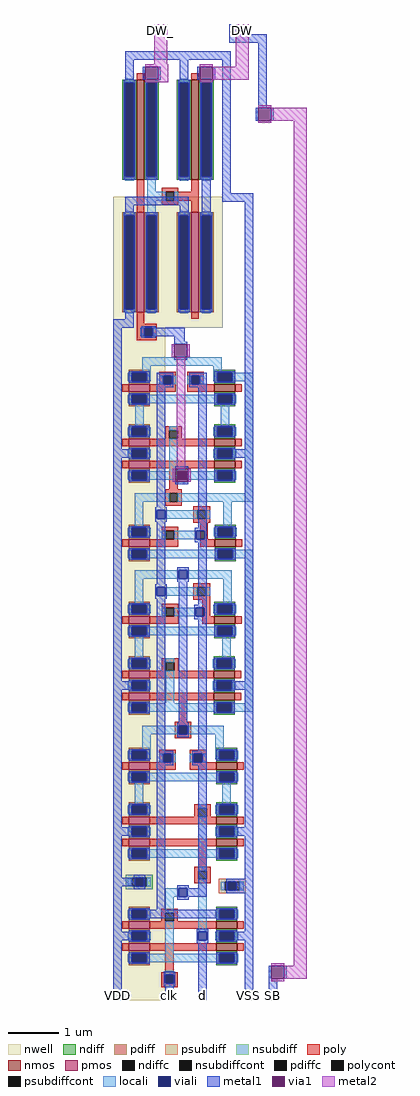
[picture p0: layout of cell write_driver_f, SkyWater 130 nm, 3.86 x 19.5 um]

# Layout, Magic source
magic
tech sky130A
magscale 1 2
<< nwell >>
rect 0 2686 436 3210
rect 0 0 208 2686
<< nmos >>
rect 94 3278 124 3678
rect 312 3278 342 3678
rect 402 2432 486 2462
rect 402 2214 486 2244
rect 402 2126 486 2156
rect 404 1812 488 1842
rect 402 1504 486 1534
rect 401 1286 485 1316
rect 401 1198 485 1228
rect 411 920 495 950
rect 411 702 495 732
rect 411 614 495 644
rect 411 285 495 315
rect 411 197 495 227
<< pmos >>
rect 94 2748 124 3148
rect 312 2748 342 3148
rect 62 2432 146 2462
rect 62 2214 146 2244
rect 62 2126 146 2156
rect 62 1812 146 1842
rect 62 1504 146 1534
rect 62 1286 146 1316
rect 62 1198 146 1228
rect 62 920 146 950
rect 62 702 146 732
rect 62 614 146 644
rect 62 285 146 315
rect 62 197 146 227
<< ndiff >>
rect 36 3666 94 3678
rect 36 3290 48 3666
rect 82 3290 94 3666
rect 36 3278 94 3290
rect 124 3666 182 3678
rect 124 3290 136 3666
rect 170 3290 182 3666
rect 124 3278 182 3290
rect 254 3666 312 3678
rect 254 3290 266 3666
rect 300 3290 312 3666
rect 254 3278 312 3290
rect 342 3666 400 3678
rect 342 3290 354 3666
rect 388 3290 400 3666
rect 342 3278 400 3290
rect 402 2508 486 2520
rect 402 2474 414 2508
rect 474 2474 486 2508
rect 402 2462 486 2474
rect 402 2420 486 2432
rect 402 2386 414 2420
rect 474 2386 486 2420
rect 402 2374 486 2386
rect 402 2290 486 2302
rect 402 2256 414 2290
rect 474 2256 486 2290
rect 402 2244 486 2256
rect 402 2202 486 2214
rect 402 2168 414 2202
rect 474 2168 486 2202
rect 402 2156 486 2168
rect 402 2114 486 2126
rect 402 2080 414 2114
rect 474 2080 486 2114
rect 402 2068 486 2080
rect 404 1888 488 1900
rect 404 1854 416 1888
rect 476 1854 488 1888
rect 404 1842 488 1854
rect 404 1800 488 1812
rect 404 1766 416 1800
rect 476 1766 488 1800
rect 404 1754 488 1766
rect 402 1580 486 1592
rect 402 1546 414 1580
rect 474 1546 486 1580
rect 402 1534 486 1546
rect 402 1492 486 1504
rect 402 1458 414 1492
rect 474 1458 486 1492
rect 402 1446 486 1458
rect 401 1362 485 1374
rect 401 1328 413 1362
rect 473 1328 485 1362
rect 401 1316 485 1328
rect 401 1274 485 1286
rect 401 1240 413 1274
rect 473 1240 485 1274
rect 401 1228 485 1240
rect 401 1186 485 1198
rect 401 1152 413 1186
rect 473 1152 485 1186
rect 401 1140 485 1152
rect 411 996 495 1008
rect 411 962 423 996
rect 483 962 495 996
rect 411 950 495 962
rect 411 908 495 920
rect 411 874 423 908
rect 483 874 495 908
rect 411 862 495 874
rect 411 778 495 790
rect 411 744 423 778
rect 483 744 495 778
rect 411 732 495 744
rect 411 690 495 702
rect 411 656 423 690
rect 483 656 495 690
rect 411 644 495 656
rect 411 602 495 614
rect 411 568 423 602
rect 483 568 495 602
rect 411 556 495 568
rect 411 361 495 373
rect 411 327 423 361
rect 483 327 495 361
rect 411 315 495 327
rect 411 273 495 285
rect 411 239 423 273
rect 483 239 495 273
rect 411 227 495 239
rect 411 185 495 197
rect 411 151 423 185
rect 483 151 495 185
rect 411 139 495 151
<< pdiff >>
rect 36 3136 94 3148
rect 36 2760 48 3136
rect 82 2760 94 3136
rect 36 2748 94 2760
rect 124 3136 182 3148
rect 124 2760 136 3136
rect 170 2760 182 3136
rect 124 2748 182 2760
rect 254 3136 312 3148
rect 254 2760 266 3136
rect 300 2760 312 3136
rect 254 2748 312 2760
rect 342 3136 400 3148
rect 342 2760 354 3136
rect 388 2760 400 3136
rect 342 2748 400 2760
rect 62 2508 146 2520
rect 62 2474 74 2508
rect 134 2474 146 2508
rect 62 2462 146 2474
rect 62 2420 146 2432
rect 62 2386 74 2420
rect 134 2386 146 2420
rect 62 2374 146 2386
rect 62 2290 146 2302
rect 62 2256 74 2290
rect 134 2256 146 2290
rect 62 2244 146 2256
rect 62 2202 146 2214
rect 62 2168 74 2202
rect 134 2168 146 2202
rect 62 2156 146 2168
rect 62 2114 146 2126
rect 62 2080 74 2114
rect 134 2080 146 2114
rect 62 2068 146 2080
rect 62 1888 146 1900
rect 62 1854 74 1888
rect 134 1854 146 1888
rect 62 1842 146 1854
rect 62 1800 146 1812
rect 62 1766 74 1800
rect 134 1766 146 1800
rect 62 1754 146 1766
rect 62 1580 146 1592
rect 62 1546 74 1580
rect 134 1546 146 1580
rect 62 1534 146 1546
rect 62 1492 146 1504
rect 62 1458 74 1492
rect 134 1458 146 1492
rect 62 1446 146 1458
rect 62 1362 146 1374
rect 62 1328 74 1362
rect 134 1328 146 1362
rect 62 1316 146 1328
rect 62 1274 146 1286
rect 62 1240 74 1274
rect 134 1240 146 1274
rect 62 1228 146 1240
rect 62 1186 146 1198
rect 62 1152 74 1186
rect 134 1152 146 1186
rect 62 1140 146 1152
rect 62 996 146 1008
rect 62 962 74 996
rect 134 962 146 996
rect 62 950 146 962
rect 62 908 146 920
rect 62 874 74 908
rect 134 874 146 908
rect 62 862 146 874
rect 62 778 146 790
rect 62 744 74 778
rect 134 744 146 778
rect 62 732 146 744
rect 62 690 146 702
rect 62 656 74 690
rect 134 656 146 690
rect 62 644 146 656
rect 62 602 146 614
rect 62 568 74 602
rect 134 568 146 602
rect 62 556 146 568
rect 62 361 146 373
rect 62 327 74 361
rect 134 327 146 361
rect 62 315 146 327
rect 62 273 146 285
rect 62 239 74 273
rect 134 239 146 273
rect 62 227 146 239
rect 62 185 146 197
rect 62 151 74 185
rect 134 151 146 185
rect 62 139 146 151
<< ndiffc >>
rect 48 3290 82 3666
rect 136 3290 170 3666
rect 266 3290 300 3666
rect 354 3290 388 3666
rect 414 2474 474 2508
rect 414 2386 474 2420
rect 414 2256 474 2290
rect 414 2168 474 2202
rect 414 2080 474 2114
rect 416 1854 476 1888
rect 416 1766 476 1800
rect 414 1546 474 1580
rect 414 1458 474 1492
rect 413 1328 473 1362
rect 413 1240 473 1274
rect 413 1152 473 1186
rect 423 962 483 996
rect 423 874 483 908
rect 423 744 483 778
rect 423 656 483 690
rect 423 568 483 602
rect 423 327 483 361
rect 423 239 483 273
rect 423 151 483 185
<< pdiffc >>
rect 48 2760 82 3136
rect 136 2760 170 3136
rect 266 2760 300 3136
rect 354 2760 388 3136
rect 74 2474 134 2508
rect 74 2386 134 2420
rect 74 2256 134 2290
rect 74 2168 134 2202
rect 74 2080 134 2114
rect 74 1854 134 1888
rect 74 1766 134 1800
rect 74 1546 134 1580
rect 74 1458 134 1492
rect 74 1328 134 1362
rect 74 1240 134 1274
rect 74 1152 134 1186
rect 74 962 134 996
rect 74 874 134 908
rect 74 744 134 778
rect 74 656 134 690
rect 74 568 134 602
rect 74 327 134 361
rect 74 239 134 273
rect 74 151 134 185
<< psubdiff >>
rect 420 473 528 485
rect 420 439 444 473
rect 504 439 528 473
rect 420 427 528 439
<< nsubdiff >>
rect 50 488 158 500
rect 50 454 74 488
rect 134 454 158 488
rect 50 442 158 454
<< psubdiffcont >>
rect 444 439 504 473
<< nsubdiffcont >>
rect 74 454 134 488
<< poly >>
rect 94 3678 124 3704
rect 312 3678 342 3704
rect 94 3148 124 3278
rect 193 3230 260 3247
rect 312 3230 342 3278
rect 193 3195 209 3230
rect 243 3195 342 3230
rect 193 3179 260 3195
rect 312 3148 342 3195
rect 94 2702 124 2748
rect 312 2722 342 2748
rect 94 2686 174 2702
rect 94 2652 124 2686
rect 158 2652 174 2686
rect 94 2636 174 2652
rect 184 2496 250 2512
rect 184 2462 200 2496
rect 234 2462 250 2496
rect 36 2432 62 2462
rect 146 2432 250 2462
rect 296 2496 362 2512
rect 296 2462 312 2496
rect 346 2462 362 2496
rect 296 2432 402 2462
rect 486 2432 512 2462
rect 207 2278 274 2294
rect 207 2244 223 2278
rect 258 2244 274 2278
rect 36 2214 62 2244
rect 146 2214 402 2244
rect 486 2214 512 2244
rect 36 2126 62 2156
rect 146 2126 402 2156
rect 486 2126 512 2156
rect 223 2042 258 2126
rect 207 2026 274 2042
rect 207 1992 223 2026
rect 258 1992 274 2026
rect 207 1976 274 1992
rect 320 1958 386 1974
rect 320 1924 336 1958
rect 370 1924 386 1958
rect 320 1908 386 1924
rect 194 1876 260 1892
rect 194 1842 210 1876
rect 244 1842 260 1876
rect 36 1812 62 1842
rect 146 1812 260 1842
rect 348 1842 378 1908
rect 348 1812 404 1842
rect 488 1812 514 1842
rect 320 1650 386 1666
rect 320 1616 336 1650
rect 370 1616 386 1650
rect 320 1600 386 1616
rect 194 1568 260 1584
rect 194 1534 210 1568
rect 244 1534 260 1568
rect 36 1504 62 1534
rect 146 1504 260 1534
rect 356 1534 386 1600
rect 356 1504 402 1534
rect 486 1504 512 1534
rect 194 1350 260 1366
rect 194 1316 210 1350
rect 244 1316 260 1350
rect 36 1286 62 1316
rect 146 1286 401 1316
rect 485 1286 511 1316
rect 36 1198 62 1228
rect 146 1198 401 1228
rect 485 1198 511 1228
rect 261 1112 295 1198
rect 245 1096 311 1112
rect 245 1062 261 1096
rect 295 1062 311 1096
rect 245 1046 311 1062
rect 184 984 250 1000
rect 184 950 200 984
rect 234 950 250 984
rect 36 920 62 950
rect 146 920 250 950
rect 306 984 373 1001
rect 306 950 322 984
rect 356 950 373 984
rect 306 920 411 950
rect 495 920 521 950
rect 323 766 389 782
rect 323 732 339 766
rect 373 732 389 766
rect 36 702 62 732
rect 146 702 411 732
rect 495 702 521 732
rect 36 614 62 644
rect 146 614 411 644
rect 495 614 521 644
rect 339 533 373 614
rect 323 517 389 533
rect 323 483 339 517
rect 373 483 389 517
rect 323 467 389 483
rect 192 349 258 365
rect 192 315 208 349
rect 242 315 258 349
rect 36 285 62 315
rect 146 285 411 315
rect 495 285 521 315
rect 36 197 62 227
rect 146 197 411 227
rect 495 197 521 227
rect 208 111 242 197
rect 192 101 258 111
rect 192 67 208 101
rect 242 67 258 101
rect 192 51 258 67
<< polycont >>
rect 209 3195 243 3230
rect 124 2652 158 2686
rect 200 2462 234 2496
rect 312 2462 346 2496
rect 223 2244 258 2278
rect 223 1992 258 2026
rect 336 1924 370 1958
rect 210 1842 244 1876
rect 336 1616 370 1650
rect 210 1534 244 1568
rect 210 1316 244 1350
rect 261 1062 295 1096
rect 200 950 234 984
rect 322 950 356 984
rect 339 732 373 766
rect 339 483 373 517
rect 208 315 242 349
rect 208 67 242 101
<< locali >>
rect 48 3666 82 3682
rect 48 3274 82 3290
rect 136 3666 170 3682
rect 136 3230 170 3290
rect 266 3666 300 3682
rect 266 3274 300 3290
rect 354 3666 388 3682
rect 354 3274 388 3290
rect 136 3195 209 3230
rect 243 3195 260 3230
rect 48 3136 82 3152
rect 48 2744 82 2760
rect 136 3136 170 3195
rect 136 2744 170 2760
rect 266 3136 300 3152
rect 266 2744 300 2760
rect 354 3136 388 3152
rect 354 2744 388 2760
rect 108 2652 124 2686
rect 158 2652 174 2686
rect 116 2535 433 2569
rect 116 2508 150 2535
rect 58 2474 74 2508
rect 134 2474 150 2508
rect 398 2508 433 2535
rect 184 2462 200 2496
rect 234 2462 250 2496
rect 296 2462 312 2496
rect 346 2462 362 2496
rect 398 2474 414 2508
rect 474 2474 558 2508
rect 58 2386 74 2420
rect 134 2386 414 2420
rect 474 2386 490 2420
rect 87 2290 121 2386
rect 58 2256 74 2290
rect 134 2256 150 2290
rect 223 2278 258 2294
rect 428 2290 462 2386
rect 398 2256 414 2290
rect 474 2256 490 2290
rect 58 2168 74 2202
rect 134 2168 150 2202
rect 223 2114 258 2244
rect 398 2168 414 2202
rect 474 2168 490 2202
rect 58 2080 74 2114
rect 134 2080 257 2114
rect 291 2080 414 2114
rect 474 2080 490 2114
rect 524 2026 558 2474
rect 86 1992 223 2026
rect 258 1992 558 2026
rect 86 1888 120 1992
rect 208 1924 336 1958
rect 370 1924 386 1958
rect 438 1888 472 1992
rect 58 1854 74 1888
rect 134 1854 150 1888
rect 194 1842 210 1876
rect 244 1842 331 1876
rect 400 1854 416 1888
rect 476 1854 492 1888
rect 58 1766 74 1800
rect 134 1766 416 1800
rect 476 1766 558 1800
rect 86 1684 261 1718
rect 295 1684 472 1718
rect 86 1580 120 1684
rect 208 1616 336 1650
rect 370 1616 386 1650
rect 438 1580 472 1684
rect 58 1546 74 1580
rect 134 1546 150 1580
rect 194 1534 210 1568
rect 244 1534 330 1568
rect 398 1546 414 1580
rect 474 1546 490 1580
rect 58 1458 74 1492
rect 134 1458 414 1492
rect 474 1458 490 1492
rect 86 1362 120 1458
rect 58 1328 74 1362
rect 134 1328 150 1362
rect 210 1350 244 1366
rect 435 1362 469 1458
rect 397 1328 413 1362
rect 473 1328 489 1362
rect 58 1240 74 1274
rect 134 1240 150 1274
rect 210 1186 244 1316
rect 397 1240 413 1274
rect 473 1240 489 1274
rect 524 1186 558 1766
rect 58 1152 74 1186
rect 134 1152 413 1186
rect 473 1152 558 1186
rect 116 1062 261 1096
rect 295 1062 441 1096
rect 116 996 150 1062
rect 58 962 74 996
rect 134 962 150 996
rect 407 996 441 1062
rect 184 950 200 984
rect 234 950 250 984
rect 306 950 322 984
rect 356 950 373 984
rect 407 962 423 996
rect 483 962 499 996
rect 58 874 74 908
rect 134 874 423 908
rect 483 874 499 908
rect 86 778 120 874
rect 58 744 74 778
rect 134 744 150 778
rect 339 766 373 782
rect 435 778 469 874
rect 407 744 423 778
rect 483 744 499 778
rect 58 656 74 690
rect 134 656 150 690
rect 339 602 373 732
rect 407 656 423 690
rect 483 656 499 690
rect 58 568 74 602
rect 134 568 423 602
rect 483 568 499 602
rect 339 517 373 533
rect 58 454 74 488
rect 134 454 150 488
rect 208 413 261 447
rect 58 327 74 361
rect 134 327 150 361
rect 208 349 242 413
rect 58 239 74 273
rect 134 239 150 273
rect 208 185 242 315
rect 339 273 373 483
rect 428 439 444 473
rect 504 439 520 473
rect 407 327 423 361
rect 483 327 499 361
rect 407 239 423 273
rect 483 239 499 273
rect 58 151 74 185
rect 134 151 423 185
rect 483 151 499 185
rect 208 101 242 117
rect 208 51 242 67
<< viali >>
rect 48 3290 82 3666
rect 136 3290 170 3666
rect 266 3290 300 3666
rect 354 3290 388 3666
rect 48 2760 82 3136
rect 136 2760 170 3136
rect 266 2760 300 3136
rect 354 2760 388 3136
rect 124 2652 158 2686
rect 74 2474 134 2508
rect 200 2462 234 2496
rect 312 2462 346 2496
rect 414 2474 474 2508
rect 74 2386 134 2420
rect 414 2386 474 2420
rect 74 2256 134 2290
rect 414 2256 474 2290
rect 74 2168 134 2202
rect 414 2168 474 2202
rect 74 2080 134 2114
rect 257 2080 291 2114
rect 414 2080 474 2114
rect 174 1924 208 1958
rect 74 1854 134 1888
rect 331 1842 365 1876
rect 416 1854 476 1888
rect 74 1766 134 1800
rect 416 1766 476 1800
rect 261 1684 295 1718
rect 174 1616 208 1650
rect 74 1546 134 1580
rect 330 1534 364 1568
rect 414 1546 474 1580
rect 74 1458 134 1492
rect 414 1458 474 1492
rect 74 1328 134 1362
rect 413 1328 473 1362
rect 74 1240 134 1274
rect 413 1240 473 1274
rect 74 1152 134 1186
rect 413 1152 473 1186
rect 261 1062 295 1096
rect 74 962 134 996
rect 200 950 234 984
rect 322 950 356 984
rect 423 962 483 996
rect 74 874 134 908
rect 423 874 483 908
rect 74 744 134 778
rect 423 744 483 778
rect 74 656 134 690
rect 423 656 483 690
rect 74 568 134 602
rect 423 568 483 602
rect 87 454 121 488
rect 261 413 295 447
rect 74 327 134 361
rect 74 239 134 273
rect 457 439 491 473
rect 423 327 483 361
rect 339 239 373 273
rect 423 239 483 273
rect 74 151 134 185
rect 423 151 483 185
rect 208 67 242 101
<< metal1 >>
rect 463 3861 497 3901
rect 463 3827 612 3861
rect 48 3758 469 3792
rect 48 3678 82 3758
rect 117 3678 127 3730
rect 179 3678 189 3730
rect 266 3678 300 3758
rect 335 3678 345 3730
rect 397 3678 407 3730
rect 42 3666 88 3678
rect 42 3290 48 3666
rect 82 3290 88 3666
rect 42 3278 88 3290
rect 130 3666 176 3678
rect 130 3290 136 3666
rect 170 3290 176 3666
rect 130 3278 176 3290
rect 260 3666 306 3678
rect 260 3290 266 3666
rect 300 3290 306 3666
rect 260 3278 306 3290
rect 348 3666 394 3678
rect 348 3290 354 3666
rect 388 3290 394 3666
rect 348 3278 394 3290
rect 47 3176 301 3210
rect 47 3148 82 3176
rect 266 3148 301 3176
rect 354 3148 388 3278
rect 435 3225 469 3758
rect 578 3566 612 3827
rect 568 3514 578 3566
rect 630 3514 640 3566
rect 435 3191 559 3225
rect 42 3136 88 3148
rect 42 2760 48 3136
rect 82 2760 88 3136
rect 42 2748 88 2760
rect 130 3136 176 3148
rect 130 2760 136 3136
rect 170 2760 176 3136
rect 130 2748 176 2760
rect 260 3136 306 3148
rect 260 2760 266 3136
rect 300 2760 306 3136
rect 260 2748 306 2760
rect 348 3136 394 3148
rect 348 2760 354 3136
rect 388 2760 394 3136
rect 348 2748 394 2760
rect 47 2720 82 2748
rect 0 2686 82 2720
rect 112 2686 170 2692
rect 525 2686 559 3191
rect 0 2202 34 2686
rect 112 2652 124 2686
rect 158 2652 286 2686
rect 112 2646 170 2652
rect 244 2631 286 2652
rect 244 2621 296 2631
rect 244 2559 296 2569
rect 62 2508 146 2514
rect 402 2508 486 2514
rect 62 2474 74 2508
rect 134 2474 146 2508
rect 62 2468 146 2474
rect 174 2496 240 2508
rect 174 2462 200 2496
rect 234 2462 240 2496
rect 174 2450 240 2462
rect 304 2496 373 2508
rect 304 2462 312 2496
rect 346 2462 373 2496
rect 402 2474 414 2508
rect 474 2474 486 2508
rect 402 2468 486 2474
rect 62 2420 146 2426
rect 62 2386 74 2420
rect 134 2386 146 2420
rect 62 2380 146 2386
rect 62 2290 146 2296
rect 62 2256 74 2290
rect 134 2256 146 2290
rect 62 2250 146 2256
rect 62 2202 146 2208
rect 0 2168 74 2202
rect 134 2168 146 2202
rect 0 1274 34 2168
rect 62 2162 146 2168
rect 62 2114 146 2120
rect 62 2080 74 2114
rect 134 2080 146 2114
rect 62 2074 146 2080
rect 174 1970 208 2450
rect 304 2449 373 2462
rect 248 2123 300 2133
rect 248 2061 300 2071
rect 168 1958 214 1970
rect 168 1924 174 1958
rect 208 1924 214 1958
rect 168 1912 214 1924
rect 62 1888 146 1894
rect 62 1854 74 1888
rect 134 1854 146 1888
rect 62 1848 146 1854
rect 62 1800 146 1806
rect 62 1766 74 1800
rect 134 1766 146 1800
rect 62 1760 146 1766
rect 174 1662 208 1912
rect 339 1888 373 2449
rect 402 2420 486 2426
rect 402 2386 414 2420
rect 474 2386 486 2420
rect 402 2380 486 2386
rect 525 2364 558 2686
rect 402 2290 486 2296
rect 402 2256 414 2290
rect 474 2256 486 2290
rect 402 2250 486 2256
rect 402 2202 486 2208
rect 524 2202 558 2364
rect 402 2168 414 2202
rect 474 2168 558 2202
rect 402 2162 486 2168
rect 402 2114 486 2120
rect 402 2080 414 2114
rect 474 2080 486 2114
rect 402 2074 486 2080
rect 524 1921 558 2168
rect 325 1876 373 1888
rect 325 1842 331 1876
rect 365 1842 373 1876
rect 404 1888 488 1894
rect 404 1854 416 1888
rect 476 1854 488 1888
rect 404 1848 488 1854
rect 325 1830 373 1842
rect 255 1718 301 1730
rect 255 1684 261 1718
rect 295 1684 301 1718
rect 255 1672 301 1684
rect 168 1650 214 1662
rect 168 1616 174 1650
rect 208 1616 214 1650
rect 168 1604 214 1616
rect 62 1580 146 1586
rect 62 1546 74 1580
rect 134 1546 146 1580
rect 62 1540 146 1546
rect 62 1492 146 1498
rect 62 1458 74 1492
rect 134 1458 146 1492
rect 62 1452 146 1458
rect 62 1362 146 1368
rect 62 1328 74 1362
rect 134 1328 146 1362
rect 62 1322 146 1328
rect 62 1274 146 1280
rect 0 1240 74 1274
rect 134 1240 146 1274
rect 0 690 34 1240
rect 62 1234 146 1240
rect 62 1186 146 1192
rect 62 1152 74 1186
rect 134 1152 146 1186
rect 62 1146 146 1152
rect 62 996 146 1002
rect 62 962 74 996
rect 134 962 146 996
rect 62 956 146 962
rect 174 996 208 1604
rect 261 1108 295 1672
rect 339 1580 373 1830
rect 404 1800 488 1806
rect 404 1766 416 1800
rect 476 1766 488 1800
rect 404 1760 488 1766
rect 324 1568 373 1580
rect 324 1534 330 1568
rect 364 1534 373 1568
rect 402 1580 486 1586
rect 402 1546 414 1580
rect 474 1546 486 1580
rect 402 1540 486 1546
rect 324 1522 373 1534
rect 255 1096 301 1108
rect 255 1062 261 1096
rect 295 1062 301 1096
rect 255 1050 301 1062
rect 339 996 373 1522
rect 402 1492 486 1498
rect 402 1458 414 1492
rect 474 1458 486 1492
rect 402 1452 486 1458
rect 401 1362 485 1368
rect 401 1328 413 1362
rect 473 1328 485 1362
rect 401 1322 485 1328
rect 401 1274 485 1280
rect 525 1274 558 1921
rect 401 1240 413 1274
rect 473 1240 558 1274
rect 401 1234 485 1240
rect 401 1186 485 1192
rect 401 1152 413 1186
rect 473 1152 485 1186
rect 401 1146 485 1152
rect 174 984 240 996
rect 174 950 200 984
rect 234 950 240 984
rect 174 938 240 950
rect 316 984 373 996
rect 316 950 322 984
rect 356 950 373 984
rect 411 996 495 1002
rect 411 962 423 996
rect 483 962 495 996
rect 411 956 495 962
rect 316 938 373 950
rect 62 908 146 914
rect 62 874 74 908
rect 134 874 146 908
rect 62 868 146 874
rect 62 778 146 784
rect 62 744 74 778
rect 134 744 146 778
rect 62 738 146 744
rect 62 690 146 696
rect 0 656 74 690
rect 134 656 146 690
rect 0 488 34 656
rect 62 650 146 656
rect 62 602 146 608
rect 62 568 74 602
rect 134 568 146 602
rect 62 562 146 568
rect 81 488 127 500
rect 0 454 87 488
rect 121 454 127 488
rect 0 273 34 454
rect 81 442 127 454
rect 62 361 146 367
rect 174 361 208 938
rect 255 447 301 459
rect 339 447 373 938
rect 411 908 495 914
rect 411 874 423 908
rect 483 874 495 908
rect 411 868 495 874
rect 411 778 495 784
rect 411 744 423 778
rect 483 744 495 778
rect 411 738 495 744
rect 411 690 495 696
rect 524 690 558 1240
rect 411 656 423 690
rect 483 656 558 690
rect 411 650 495 656
rect 411 602 495 608
rect 411 568 423 602
rect 483 568 495 602
rect 411 562 495 568
rect 524 485 558 656
rect 255 413 261 447
rect 295 413 373 447
rect 451 473 558 485
rect 451 439 457 473
rect 491 439 558 473
rect 451 427 558 439
rect 255 401 301 413
rect 411 361 495 367
rect 62 327 74 361
rect 134 327 423 361
rect 483 327 495 361
rect 62 321 146 327
rect 411 321 495 327
rect 62 273 146 279
rect 0 239 74 273
rect 134 239 146 273
rect 0 0 34 239
rect 62 233 146 239
rect 333 273 379 285
rect 333 239 339 273
rect 373 239 379 273
rect 333 227 379 239
rect 411 273 495 279
rect 524 273 558 427
rect 411 239 423 273
rect 483 239 558 273
rect 411 233 495 239
rect 62 185 146 191
rect 62 151 74 185
rect 134 151 146 185
rect 62 145 146 151
rect 202 101 248 113
rect 202 67 208 101
rect 242 67 248 101
rect 202 55 248 67
rect 208 0 242 55
rect 339 0 373 227
rect 411 185 495 191
rect 411 151 423 185
rect 483 151 495 185
rect 411 145 495 151
rect 524 0 558 239
rect 620 85 630 137
rect 682 85 692 137
rect 620 0 654 85
<< via1 >>
rect 127 3678 179 3730
rect 345 3678 397 3730
rect 578 3514 630 3566
rect 244 2569 296 2621
rect 248 2114 300 2123
rect 248 2080 257 2114
rect 257 2080 291 2114
rect 291 2080 300 2114
rect 248 2071 300 2080
rect 630 85 682 137
<< metal2 >>
rect 164 3740 216 3901
rect 127 3730 219 3740
rect 179 3678 219 3730
rect 127 3668 219 3678
rect 345 3730 397 3740
rect 488 3730 540 3901
rect 397 3678 540 3730
rect 345 3668 397 3678
rect 578 3566 630 3576
rect 630 3514 772 3566
rect 578 3507 630 3514
rect 234 2569 244 2621
rect 296 2569 306 2621
rect 253 2123 287 2569
rect 238 2071 248 2123
rect 300 2071 310 2123
rect 630 137 682 147
rect 720 137 772 3514
rect 682 85 772 137
rect 630 75 682 85
<< labels >>
rlabel metal2 164 3849 216 3901 0 DW_
rlabel metal2 488 3849 540 3901 0 DW
rlabel metal1 0 0 34 35 0 VDD
rlabel metal1 208 0 242 35 0 clk
rlabel metal1 339 0 373 35 0 d
rlabel metal1 524 0 558 35 0 VSS
rlabel metal1 620 0 654 35 0 SB
<< end >>
